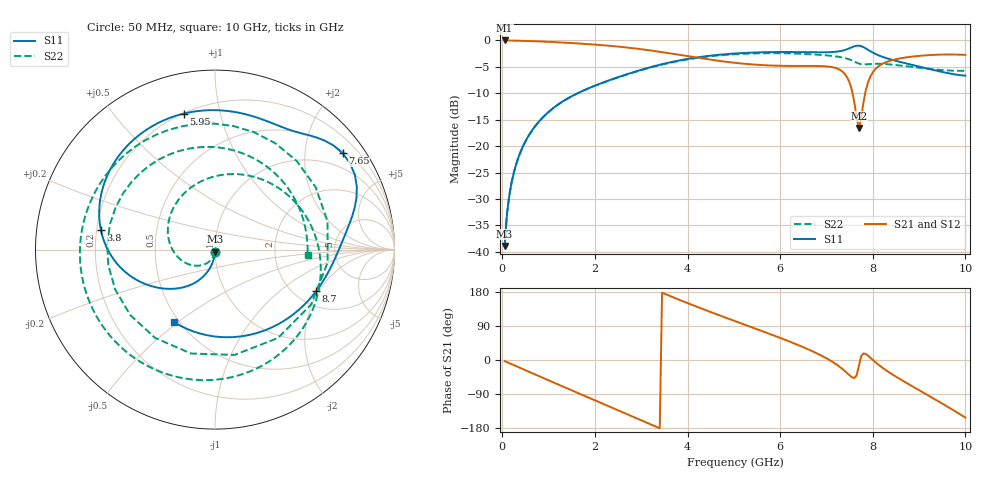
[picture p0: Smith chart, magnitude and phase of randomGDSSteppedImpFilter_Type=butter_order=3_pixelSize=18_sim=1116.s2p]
! freq	dB(S11)	phase(S11)	dB(S12)	phase(S12)
!  dB(S21)	phase(S21)	dB(S22)	phase(S22)
!S-par simulation data
#  GHz  S  DB  R 50
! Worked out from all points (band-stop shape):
!   200 points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, 50 MHz to 10 GHz, reference 50 ohm
!   highest |S21| = 0.00 dB at 50 MHz (marker M1); lowest = -16.6 dB at 7.7 GHz (marker M2)
!   |S21| within 3 dB of the highest: start of sweep to 4.021 GHz; 8.908 GHz to end of sweep
!   lowest |S11| = -38.9 dB at 50 MHz (marker M3), VSWR 1.02, Z = 50 - j1.13 ohm
!   |S11| at or under -10 dB: start of sweep to 1.622 GHz
!   |S22| runs from -38.9 to -2.4 dB; largest |S21 - S12| = 0
!   S11 on the Smith chart (normalised r, x): 50 MHz: 1.00, -0.02; 3.8 GHz: 0.22, +0.08; 5.95 GHz: 0.20, +0.78; 7.65 GHz: 0.55, +2.89; 8.7 GHz: 2.57, -1.90; 10 GHz: 0.47, -0.49
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0.05  -38.90 -91.3  -0.00 -2.7  -0.00 -2.7  -38.92 -93.7
0.2  -26.89 -96.4  -0.02 -10.9  -0.02 -10.9  -26.91 -105.7
0.5  -19.08 -106.0  -0.09 -27.0  -0.09 -27.0  -19.12 -129.1
1.75  -9.47 -139.4  -0.63 -93.3  -0.63 -93.3  -9.50 131.3
2.55  -6.80 -157.2  -1.20 -135.6  -1.20 -135.6  -6.85 64.7
3.4  -4.60 -178.4  -2.15 -180.0  -2.15 -180.0  -4.67 -2.6
3.8  -3.82 170.4  -2.69 160.0  -2.69 160.0  -3.90 -31.3
4.45  -2.93 151.0  -3.58 128.9  -3.58 128.9  -3.03 -73.4
5.05  -2.45 132.2  -4.26 101.5  -4.26 101.5  -2.59 -108.8
5.95  -2.19 102.9  -4.78 60.7  -4.78 60.7  -2.42 -160.1
6.7  -2.24 77.1  -4.82 22.9  -4.82 22.9  -2.63 150.1
7.05  -2.23 64.9  -4.95 1.0  -4.95 1.0  -2.86 117.4
7.35  -1.92 54.4  -5.93 -24.2  -5.93 -24.2  -3.23 71.7
7.55  -1.29 44.7  -9.44 -45.5  -9.44 -45.5  -3.79 14.1
7.65  -1.00 37.0  -14.50 -41.2  -14.50 -41.2  -4.20 -29.7
7.7  -0.98 32.6  -16.57 -16.0  -16.57 -16.0  -4.37 -54.5
7.8  -1.27 23.9  -11.65 17.6  -11.65 17.6  -4.52 -102.9
7.95  -2.05 14.0  -6.80 5.8  -6.80 5.8  -4.45 -158.2
8.35  -3.50 -4.7  -3.91 -32.3  -3.91 -32.3  -4.52 128.0
8.7  -4.31 -22.4  -3.24 -58.5  -3.24 -58.5  -4.85 91.3
9.35  -5.67 -63.1  -2.71 -104.3  -2.71 -104.3  -5.50 39.3
10  -6.67 -119.3  -2.74 -152.0  -2.74 -152.0  -5.73 -3.5
